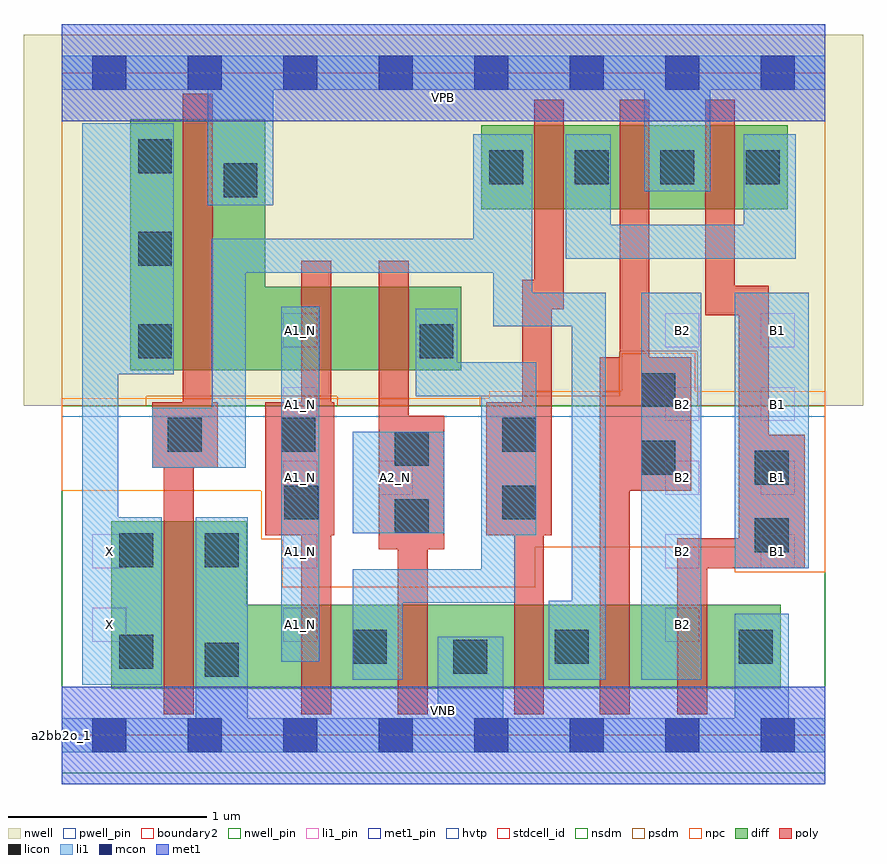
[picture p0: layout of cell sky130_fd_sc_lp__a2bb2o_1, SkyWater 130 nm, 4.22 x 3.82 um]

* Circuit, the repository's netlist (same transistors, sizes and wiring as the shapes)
* Copyright 2020 The SkyWater PDK Authors
*
* Licensed under the Apache License, Version 2.0 (the "License");
* you may not use this file except in compliance with the License.
* You may obtain a copy of the License at
*
*     https://www.apache.org/licenses/LICENSE-2.0
*
* Unless required by applicable law or agreed to in writing, software
* distributed under the License is distributed on an "AS IS" BASIS,
* WITHOUT WARRANTIES OR CONDITIONS OF ANY KIND, either express or implied.
* See the License for the specific language governing permissions and
* limitations under the License.
*
* SPDX-License-Identifier: Apache-2.0

.SUBCKT sky130_fd_sc_lp__a2bb2o_1 A1_N A2_N B1 B2 VGND VNB VPB VPWR X
*.PININFO A1_N:I A2_N:I B1:I B2:I VGND:I VNB:I VPB:I VPWR:I X:O
MMIN2 X y VGND VNB sky130_fd_pr__nfet_01v8 m=1 w=0.84U l=0.15U mult=1 sa=0.265
+ sb=0.265 sd=0.28 area=0.063 perim=1.14
MMNnor0 inor A1_N VGND VNB sky130_fd_pr__nfet_01v8 m=1 w=0.42U l=0.15U mult=1 sa=0.265
+ sb=0.265 sd=0.28 area=0.063 perim=1.14
MMNnor1 inor A2_N VGND VNB sky130_fd_pr__nfet_01v8 m=1 w=0.42U l=0.15U mult=1 sa=0.265
+ sb=0.265 sd=0.28 area=0.063 perim=1.14
MMNaoi10 VGND B1 sndNB1 VNB sky130_fd_pr__nfet_01v8 m=1 w=0.42U l=0.15U mult=1
+ sa=0.265 sb=0.265 sd=0.28 area=0.063 perim=1.14
MMNaoi11 sndNB1 B2 y VNB sky130_fd_pr__nfet_01v8 m=1 w=0.42U l=0.15U mult=1 sa=0.265
+ sb=0.265 sd=0.28 area=0.063 perim=1.14
MMNaoi20 y inor VGND VNB sky130_fd_pr__nfet_01v8 m=1 w=0.42U l=0.15U mult=1 sa=0.265
+ sb=0.265 sd=0.28 area=0.063 perim=1.14
MMIP2 X y VPWR VPB sky130_fd_pr__pfet_01v8_hvt m=1 w=1.26U l=0.15U mult=1 sa=0.265
+ sb=0.265 sd=0.28 area=0.063 perim=1.14
MMPnor0 VPWR A1_N sndPA1N VPB sky130_fd_pr__pfet_01v8_hvt m=1 w=0.42U l=0.15U mult=1
+ sa=0.265 sb=0.265 sd=0.28 area=0.063 perim=1.14
MMPnor1 sndPA1N A2_N inor VPB sky130_fd_pr__pfet_01v8_hvt m=1 w=0.42U l=0.15U mult=1
+ sa=0.265 sb=0.265 sd=0.28 area=0.063 perim=1.14
MMPaoi10 pmid B1 VPWR VPB sky130_fd_pr__pfet_01v8_hvt m=1 w=0.42U l=0.15U mult=1
+ sa=0.265 sb=0.265 sd=0.28 area=0.063 perim=1.14
MMPaoi11 pmid B2 VPWR VPB sky130_fd_pr__pfet_01v8_hvt m=1 w=0.42U l=0.15U mult=1
+ sa=0.265 sb=0.265 sd=0.28 area=0.063 perim=1.14
MMPaoi20 y inor pmid VPB sky130_fd_pr__pfet_01v8_hvt m=1 w=0.42U l=0.15U mult=1
+ sa=0.265 sb=0.265 sd=0.28 area=0.063 perim=1.14
.ENDS sky130_fd_sc_lp__a2bb2o_1

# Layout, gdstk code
import gdstk
lib = gdstk.Library(unit=1e-6, precision=1e-09)
def R(c, l, rs):  # rectangles x0, y0, x1, y1
    for r in rs: c.add(gdstk.rectangle(r[:2], r[2:], *l))
def A(c, l, x, y, w, h, nx, ny, dx, dy):  # array of equal rectangles
    R(c, l, [(x+i*dx, y+j*dy, x+i*dx+w, y+j*dy+h) for i in range(nx) for j in range(ny)])
def P(c, l, *ps):  # polygons
    for p in ps: c.add(gdstk.Polygon(p, *l))
nwell_pin = (64, 16)
nwell = (64, 20)
diff = (65, 20)
poly = (66, 20)
licon = (66, 44)
li1_pin = (67, 16)
li1 = (67, 20)
mcon = (67, 44)
met1_pin = (68, 16)
met1 = (68, 20)
hvtp = (78, 44)
stdcell_id = (81, 4)
nsdm = (93, 44)
psdm = (94, 20)
npc = (95, 20)
pwell_pin = (122, 16)
boundary2 = (236, 0)

sky130_fd_sc_lp__a2bb2o_ = lib.new_cell('sky130_fd_sc_lp__a2bb2o_1')
R(sky130_fd_sc_lp__a2bb2o_, nwell_pin, [(0,3.085,3.84,3.33)])
R(sky130_fd_sc_lp__a2bb2o_, nwell, [(-0.19,1.655,4.03,3.52)])
R(sky130_fd_sc_lp__a2bb2o_, diff, [(2.11,2.645,3.65,3.065)])
P(sky130_fd_sc_lp__a2bb2o_, diff, [(2.01,2.255),(1.025,2.255),(1.025,3.095),(0.345,3.095),(0.345,1.835),(2.01,1.835)],
  [(3.615,0.655),(0.93,0.655),(0.93,1.075),(0.25,1.075),(0.25,0.235),(3.615,0.235)])
P(sky130_fd_sc_lp__a2bb2o_, poly, [(0.785,1.675),(0.76,1.675),(0.76,3.225),(0.61,3.225),(0.61,1.675),(0.455,1.675),(0.455,1.345),(0.515,1.345),(0.515,0.105),(0.665,0.105),(0.665,1.345),(0.785,1.345)],
  [(1.37,1.675),(1.355,1.675),(1.355,2.385),(1.205,2.385),(1.205,1.675),(1.025,1.675),(1.025,1.005),(1.205,1.005),(1.205,0.105),(1.355,0.105),(1.355,1.005),(1.37,1.005)],
  [(1.925,1.605),(1.745,1.605),(1.745,2.385),(1.595,2.385),(1.595,0.935),(1.69,0.935),(1.69,0.105),(1.84,0.105),(1.84,0.935),(1.925,0.935)],
  [(2.525,3.195),(2.375,3.195),(2.375,2.29),(2.315,2.29),(2.315,1.675),(2.135,1.675),(2.135,1.005),(2.275,1.005),(2.275,0.105),(2.425,0.105),(2.425,1.005),(2.465,1.005),(2.465,2.14),(2.525,2.14)],
  [(3.165,1.9),(2.955,1.9),(2.955,3.195),(2.805,3.195),(2.805,1.9),(2.705,1.9),(2.705,0.105),(2.855,0.105),(2.855,1.23),(3.165,1.23)],
  [(3.735,1.51),(3.555,1.51),(3.555,2.26),(3.385,2.26),(3.385,3.195),(3.235,3.195),(3.235,2.11),(3.405,2.11),(3.405,0.99),(3.095,0.99),(3.095,0.105),(3.245,0.105),(3.245,0.84),(3.735,0.84)])
A(sky130_fd_sc_lp__a2bb2o_, licon, 0.385, 1.895, 0.17, 0.17, 1, 3, 0, 0.465)
A(sky130_fd_sc_lp__a2bb2o_, licon, 2.15, 2.77, 0.17, 0.17, 4, 1, 0.43, 0)
R(sky130_fd_sc_lp__a2bb2o_, licon, [(0.72,0.295,0.89,0.465), (1.97,0.31,2.14,0.48), (0.29,0.335,0.46,0.505), (1.465,0.36,1.635,0.53), (2.48,0.36,2.65,0.53), (3.405,0.36,3.575,0.53), (0.29,0.845,0.46,1.015), (0.72,0.845,0.89,1.015), (3.485,0.92,3.655,1.09), (1.675,1.015,1.845,1.185), (1.12,1.085,1.29,1.255), (2.215,1.085,2.385,1.255), (3.485,1.26,3.655,1.43), (2.915,1.31,3.085,1.48), (1.675,1.355,1.845,1.525), (0.535,1.425,0.705,1.595), (1.105,1.425,1.275,1.595), (2.215,1.425,2.385,1.595), (2.915,1.65,3.085,1.82), (1.8,1.895,1.97,2.065), (0.815,2.705,0.985,2.875)])
A(sky130_fd_sc_lp__a2bb2o_, li1_pin, 1.115, 0.47, 0.17, 0.17, 1, 5, 0, 0.37)
A(sky130_fd_sc_lp__a2bb2o_, li1_pin, 3.035, 0.47, 0.17, 0.17, 1, 5, 0, 0.37)
A(sky130_fd_sc_lp__a2bb2o_, li1_pin, 3.515, 0.84, 0.17, 0.17, 1, 4, 0, 0.37)
R(sky130_fd_sc_lp__a2bb2o_, li1_pin, [(0.155,0.47,0.325,0.64), (0.155,0.84,0.325,1.01), (1.595,1.21,1.765,1.38)])
R(sky130_fd_sc_lp__a2bb2o_, li1, [(2.915,0.28,3.215,2.225), (1.105,0.37,1.295,2.155), (3.385,0.84,3.755,2.225), (1.465,1.015,1.925,1.525)])
P(sky130_fd_sc_lp__a2bb2o_, li1, [(0.565,3.075),(0.105,3.075),(0.105,0.255),(0.505,0.255),(0.505,1.095),(0.285,1.095),(0.285,1.815),(0.565,1.815)],
  [(3.84,0.085),(3.655,0.085),(3.655,0.61),(3.385,0.61),(3.385,0.085),(2.22,0.085),(2.22,0.495),(1.89,0.495),(1.89,0.085),(0.935,0.085),(0.935,1.095),(0.675,1.095),(0.675,0.085),(0,0.085),(0,-0.085),(3.84,-0.085)],
  [(3.84,3.415),(0,3.415),(0,3.245),(0.735,3.245),(0.735,2.665),(1.065,2.665),(1.065,3.245),(2.93,3.245),(2.93,2.735),(3.26,2.735),(3.26,3.245),(3.84,3.245)],
  [(3.69,3.02),(3.43,3.02),(3.43,2.565),(2.76,2.565),(2.76,3.02),(2.535,3.02),(2.535,2.395),(3.69,2.395)],
  [(2.735,2.225),(2.365,2.225),(2.365,3.02),(2.07,3.02),(2.07,2.495),(0.755,2.495),(0.755,1.645),(0.455,1.645),(0.455,1.345),(0.925,1.345),(0.925,2.325),(2.17,2.325),(2.17,2.055),(2.565,2.055),(2.565,0.675),(2.45,0.675),(2.45,0.28),(2.735,0.28)],
  [(2.385,1.875),(1.99,1.875),(1.99,2.145),(1.78,2.145),(1.78,1.705),(2.11,1.705),(2.11,0.835),(1.465,0.835),(1.465,0.28),(1.715,0.28),(1.715,0.665),(2.28,0.665),(2.28,1.005),(2.385,1.005)])
A(sky130_fd_sc_lp__a2bb2o_, mcon, 0.155, -0.085, 0.17, 0.17, 8, 2, 0.48, 3.33)
R(sky130_fd_sc_lp__a2bb2o_, met1_pin, [(0,0,3.84,0.245), (0,3.085,3.84,3.33)])
R(sky130_fd_sc_lp__a2bb2o_, met1, [(0,-0.245,3.84,0.245), (0,3.085,3.84,3.575)])
R(sky130_fd_sc_lp__a2bb2o_, hvtp, [(0,1.6,3.84,3.33)])
R(sky130_fd_sc_lp__a2bb2o_, stdcell_id, [(0,0,3.84,3.33)])
R(sky130_fd_sc_lp__a2bb2o_, nsdm, [(0,-0.19,3.84,1.655)])
P(sky130_fd_sc_lp__a2bb2o_, psdm, [(3.84,3.52),(0,3.52),(0,1.655),(0.425,1.655),(0.425,1.705),(1.385,1.705),(1.385,1.655),(2.105,1.655),(2.105,1.705),(2.805,1.705),(2.805,1.93),(3.195,1.93),(3.195,1.655),(3.84,1.655)])
P(sky130_fd_sc_lp__a2bb2o_, npc, [(3.84,1.73),(3.185,1.73),(3.185,1.92),(2.815,1.92),(2.815,1.73),(2.15,1.73),(2.15,1.695),(0,1.695),(0,1.23),(1.005,1.23),(1.005,0.985),(1.11,0.985),(1.11,0.745),(2.38,0.745),(2.38,0.945),(3.385,0.945),(3.385,0.82),(3.84,0.82)])
R(sky130_fd_sc_lp__a2bb2o_, pwell_pin, [(0,0,3.84,0.245)])
R(sky130_fd_sc_lp__a2bb2o_, boundary2, [(0,0,3.84,3.33)])
sky130_fd_sc_lp__a2bb2o_.add(gdstk.Label('VNB', (1.92,0.123), layer=64, texttype=59))
sky130_fd_sc_lp__a2bb2o_.add(gdstk.Label('VPB', (1.92,3.208), layer=64, texttype=5))
sky130_fd_sc_lp__a2bb2o_.add(gdstk.Label('a2bb2o_1', (0,0), layer=83, texttype=44))
sky130_fd_sc_lp__a2bb2o_.add(gdstk.Label('VPWR', (1.92,3.208), layer=68, texttype=5))
sky130_fd_sc_lp__a2bb2o_.add(gdstk.Label('VGND', (1.92,0.123), layer=68, texttype=5))
sky130_fd_sc_lp__a2bb2o_.add(gdstk.Label('X', (0.24,0.555), layer=67, texttype=5))
sky130_fd_sc_lp__a2bb2o_.add(gdstk.Label('X', (0.24,0.925), layer=67, texttype=5))
sky130_fd_sc_lp__a2bb2o_.add(gdstk.Label('A1_N', (1.2,0.555), layer=67, texttype=5))
sky130_fd_sc_lp__a2bb2o_.add(gdstk.Label('A1_N', (1.2,0.925), layer=67, texttype=5))
sky130_fd_sc_lp__a2bb2o_.add(gdstk.Label('A1_N', (1.2,1.295), layer=67, texttype=5))
sky130_fd_sc_lp__a2bb2o_.add(gdstk.Label('A1_N', (1.2,1.665), layer=67, texttype=5))
sky130_fd_sc_lp__a2bb2o_.add(gdstk.Label('A1_N', (1.2,2.035), layer=67, texttype=5))
sky130_fd_sc_lp__a2bb2o_.add(gdstk.Label('A2_N', (1.68,1.295), layer=67, texttype=5))
sky130_fd_sc_lp__a2bb2o_.add(gdstk.Label('B2', (3.12,0.555), layer=67, texttype=5))
sky130_fd_sc_lp__a2bb2o_.add(gdstk.Label('B2', (3.12,0.925), layer=67, texttype=5))
sky130_fd_sc_lp__a2bb2o_.add(gdstk.Label('B2', (3.12,1.295), layer=67, texttype=5))
sky130_fd_sc_lp__a2bb2o_.add(gdstk.Label('B2', (3.12,1.665), layer=67, texttype=5))
sky130_fd_sc_lp__a2bb2o_.add(gdstk.Label('B2', (3.12,2.035), layer=67, texttype=5))
sky130_fd_sc_lp__a2bb2o_.add(gdstk.Label('B1', (3.6,0.925), layer=67, texttype=5))
sky130_fd_sc_lp__a2bb2o_.add(gdstk.Label('B1', (3.6,1.295), layer=67, texttype=5))
sky130_fd_sc_lp__a2bb2o_.add(gdstk.Label('B1', (3.6,1.665), layer=67, texttype=5))
sky130_fd_sc_lp__a2bb2o_.add(gdstk.Label('B1', (3.6,2.035), layer=67, texttype=5))

lib.write_gds('sky130_fd_sc_lp__a2bb2o_1.gds')
